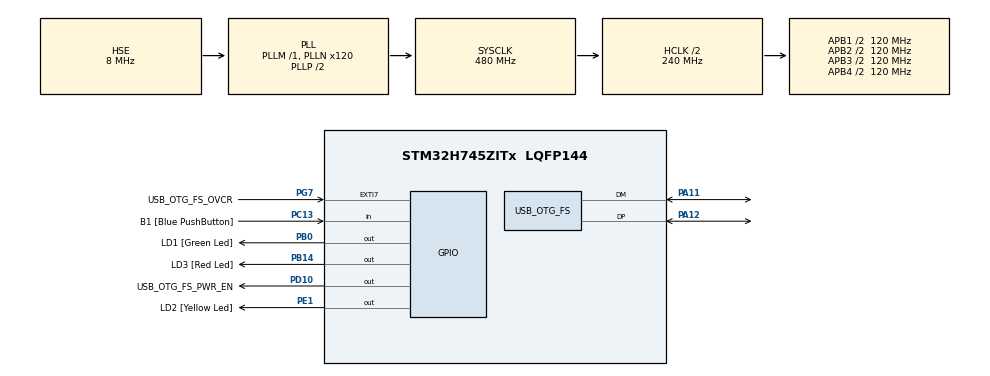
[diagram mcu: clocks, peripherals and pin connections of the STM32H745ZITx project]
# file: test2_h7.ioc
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CortexM4.IPs=FATFS_M4\:I,FREERTOS_M4\:I,IWDG2\:I,RCC,WWDG2\:I,DMA,BDMA,MDMA,NVIC2\:I,USART3,DEBUG,PDM2PCM_M4\:I,PWR,RESMGR_UTILITY,SYS_M4\:I,USB_DEVICE_M4\:I,USB_HOST_M4\:I,CORTEX_M4\:I,OPENAMP_M4\:I,VREFBUF
CortexM4.Pins=PC13,PE1
CortexM7.IPs=FATFS_M7\:I,FREERTOS_M7\:I,IWDG1\:I,RCC\:I,WWDG1\:I,DMA\:I,BDMA\:I,MDMA\:I,NVIC1\:I,SYS\:I,USART3\:I,USB_OTG_FS\:I,CORTEX_M7\:I,DEBUG\:I,PDM2PCM_M7\:I,PWR\:I,RESMGR_UTILITY\:I,USB_DEVICE_M7\:I,USB_HOST_M7\:I,OPENAMP_M7\:I,VREFBUF\:I
CortexM7.Pins=PB0,PB14
Dma.MEMTOMEM.0.Direction=DMA_MEMORY_TO_MEMORY
Dma.MEMTOMEM.0.EventEnable=DISABLE
Dma.MEMTOMEM.0.FIFOMode=DMA_FIFOMODE_ENABLE
Dma.MEMTOMEM.0.FIFOThreshold=DMA_FIFO_THRESHOLD_FULL
Dma.MEMTOMEM.0.Instance=DMA1_Stream0
Dma.MEMTOMEM.0.MemBurst=DMA_MBURST_SINGLE
Dma.MEMTOMEM.0.MemDataAlignment=DMA_MDATAALIGN_BYTE
Dma.MEMTOMEM.0.MemInc=DMA_MINC_ENABLE
Dma.MEMTOMEM.0.Mode=DMA_NORMAL
Dma.MEMTOMEM.0.PeriphBurst=DMA_PBURST_SINGLE
Dma.MEMTOMEM.0.PeriphDataAlignment=DMA_PDATAALIGN_BYTE
Dma.MEMTOMEM.0.PeriphInc=DMA_PINC_ENABLE
Dma.MEMTOMEM.0.Polarity=HAL_DMAMUX_REQ_GEN_RISING
Dma.MEMTOMEM.0.Priority=DMA_PRIORITY_LOW
Dma.MEMTOMEM.0.RequestNumber=1
Dma.MEMTOMEM.0.SignalID=NONE
Dma.MEMTOMEM.0.SyncEnable=DISABLE
Dma.MEMTOMEM.0.SyncPolarity=HAL_DMAMUX_SYNC_NO_EVENT
Dma.MEMTOMEM.0.SyncRequestNumber=1
Dma.MEMTOMEM.0.SyncSignalID=NONE
Dma.Request0=MEMTOMEM
Mcu.Family=STM32H7
Mcu.Name=STM32H745ZITx
Mcu.Package=LQFP144
NVIC1.OTG_FS_IRQn=true\:0\:0\:false\:false\:true\:false\:true\:true
NVIC1.PriorityGroup=NVIC_PRIORITYGROUP_4
NVIC2.PriorityGroup=NVIC_PRIORITYGROUP_4
PA1.Signal=ETH_REF_CLK
PA11.Mode=Device_Only
PA11.PinAttribute=CortexM7
PA11.Signal=USB_OTG_FS_DM
PA12.Mode=Device_Only
PA12.PinAttribute=CortexM7
PA12.Signal=USB_OTG_FS_DP
PA2.Signal=ETH_MDIO
PA7.Signal=ETH_CRS_DV
PA8.PinAttribute=CortexM7
PA8.Signal=USB_OTG_FS_SOF
PA9.PinAttribute=CortexM7
PA9.Signal=USB_OTG_FS_VBUS
PB0.GPIO_Label=LD1 [Green Led]
PB0.PinAttribute=CortexM7
PB0.Signal=GPIO_Output
PB13.Signal=ETH_TXD1
PB14.GPIO_Label=LD3 [Red Led]
PB14.PinAttribute=CortexM7
PB14.Signal=GPIO_Output
PC1.Signal=ETH_MDC
PC13.GPIO_Label=B1 [Blue PushButton]
PC13.GPIO_PuPd=GPIO_PULLUP
PC13.PinAttribute=CortexM4
PC13.Signal=GPIO_Input
PC14-OSC32_IN\ (OSC32_IN).Mode=LSE-External-Oscillator
PC14-OSC32_IN\ (OSC32_IN).PinAttribute=CortexM7
PC14-OSC32_IN\ (OSC32_IN).Signal=RCC_OSC32_IN
PC15-OSC32_OUT\ (OSC32_OUT).Mode=LSE-External-Oscillator
PC15-OSC32_OUT\ (OSC32_OUT).PinAttribute=CortexM7
PC15-OSC32_OUT\ (OSC32_OUT).Signal=RCC_OSC32_OUT
PC4.Signal=ETH_RXD0
PC5.Signal=ETH_RXD1
PD10.GPIO_Label=USB_OTG_FS_PWR_EN
PD10.PinAttribute=Free
PD10.Signal=GPIO_Output
PD8.GPIO_Label=STLINK_RX
PD8.PinAttribute=CortexM7
PD8.Signal=USART3_TX
PD9.GPIO_Label=STLINK_TX
PD9.PinAttribute=CortexM7
PD9.Signal=USART3_RX
PE1.GPIO_Label=LD2 [Yellow Led]
PE1.PinAttribute=CortexM4
PE1.Signal=GPIO_Output
PG11.Signal=ETH_TX_EN
PG13.Signal=ETH_TXD0
PG7.GPIO_Label=USB_OTG_FS_OVCR
PG7.PinAttribute=Free
PG7.Signal=GPXTI7
PH0-OSC_IN\ (PH0).Mode=HSE-External-Clock-Source
PH0-OSC_IN\ (PH0).PinAttribute=CortexM7
PH0-OSC_IN\ (PH0).Signal=RCC_OSC_IN
PH1-OSC_OUT\ (PH1).PinAttribute=CortexM7
PH1-OSC_OUT\ (PH1).Signal=RCC_OSC_OUT
ProjectManager.HeapSize=M4-0x400,M7-0x400
ProjectManager.StackSize=M4-0x400,M7-0x400
ProjectManager.TargetToolchain=MDK-ARM V5.32
RCC.ADCFreq_Value=16125000
RCC.APB1Freq_Value=120000000
RCC.APB2Freq_Value=120000000
RCC.APB3Freq_Value=120000000
RCC.APB4Freq_Value=120000000
RCC.CortexFreq_Value=480000000
RCC.D1PPRE=RCC_APB3_DIV2
RCC.D2PPRE1=RCC_APB1_DIV2
RCC.D2PPRE2=RCC_APB2_DIV2
RCC.D3PPRE=RCC_APB4_DIV2
RCC.DIVM1=1
RCC.DIVM3=1
RCC.DIVN1=120
RCC.DIVN3=24
RCC.DIVQ3=4
RCC.HCLKFreq_Value=240000000
RCC.HPRE=RCC_HCLK_DIV2
RCC.HSE_VALUE=8000000
RCC.PLL2FRACN=0
RCC.PLL3FRACN=0
RCC.PLLFRACN=0
RCC.PLLSourceVirtual=RCC_PLLSOURCE_HSE
RCC.SYSCLKFreq_VALUE=480000000
RCC.SYSCLKSource=RCC_SYSCLKSOURCE_PLLCLK
RCC.SupplySource=PWR_DIRECT_SMPS_SUPPLY
RCC.USBCLockSelection=RCC_USBCLKSOURCE_PLL3
RCC.USBFreq_Value=48000000
USB_DEVICE_M7.CLASS_NAME_FS=CDC
USB_DEVICE_M7.VirtualMode-CDC_FS=Cdc
USB_DEVICE_M7.VirtualModeFS=Cdc_FS
USB_OTG_FS.VirtualMode=Device_Only
VP_SYS_M4_VS_Systick.Mode=SysTick
VP_USB_DEVICE_M7_VS_USB_DEVICE_CDC_FS.Mode=CDC_FS
board=NUCLEO-H745ZI-Q

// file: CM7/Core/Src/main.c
/* USER CODE BEGIN Header */
/**
  ******************************************************************************
  * @file           : main.c
  * @brief          : Main program body
  ******************************************************************************
  * @attention
  *
  * Copyright (c) 2022 STMicroelectronics.
  * All rights reserved.
  *
  * This software is licensed under terms that can be found in the LICENSE file
  * in the root directory of this software component.
  * If no LICENSE file comes with this software, it is provided AS-IS.
  *
  ******************************************************************************
  */
/* USER CODE END Header */
#include "main.h"
#include "usb_device.h"

/* USER CODE BEGIN Includes */
#include "usbd_cdc_if.h"
#include <string.h>
#include <stdio.h>

#include "data.h"
/* USER CODE END Includes */

/* USER CODE BEGIN PD */

#ifndef HSEM_ID_0
#define HSEM_ID_0 (0U) /* HW semaphore 0*/
#endif

#define HSEM_MUTEX	1
#define HSEM_CNTR		2

/* USER CODE END PD */

DMA_HandleTypeDef hdma_memtomem_dma1_stream0;

void SystemClock_Config(void);
static void MX_GPIO_Init(void);
static void MX_DMA_Init(void);

/* USER CODE BEGIN 0 */
extern uint32_t counter;
extern double mydouble;
/* USER CODE END 0 */

int main(void)
{
  /* USER CODE BEGIN 1 */
	char s[100];
	uint32_t d;

	uint32_t ticks, now;
  /* USER CODE END 1 */
/* USER CODE BEGIN Boot_Mode_Sequence_0 */
  int32_t timeout;
/* USER CODE END Boot_Mode_Sequence_0 */

/* USER CODE BEGIN Boot_Mode_Sequence_1 */
  /* Wait until CPU2 boots and enters in stop mode or timeout*/
  timeout = 0xFFFF;
  while((__HAL_RCC_GET_FLAG(RCC_FLAG_D2CKRDY) != RESET) && (timeout-- > 0));
  if ( timeout < 0 )
  {
  Error_Handler();
  }
/* USER CODE END Boot_Mode_Sequence_1 */
  /* MCU Configuration--------------------------------------------------------*/

  /* Reset of all peripherals, Initializes the Flash interface and the Systick. */
  HAL_Init();

  /* Configure the system clock */
  SystemClock_Config();
/* USER CODE BEGIN Boot_Mode_Sequence_2 */
/* When system initialization is finished, Cortex-M7 will release Cortex-M4 by means of
HSEM notification */
/*HW semaphore Clock enable*/
__HAL_RCC_HSEM_CLK_ENABLE();
/*Take HSEM */
HAL_HSEM_FastTake(HSEM_ID_0);
/*Release HSEM in order to notify the CPU2(CM4)*/
HAL_HSEM_Release(HSEM_ID_0,0);
/* wait until CPU2 wakes up from stop mode */
timeout = 0xFFFF;
while((__HAL_RCC_GET_FLAG(RCC_FLAG_D2CKRDY) == RESET) && (timeout-- > 0));
if ( timeout < 0 )
{
Error_Handler();
}
/* USER CODE END Boot_Mode_Sequence_2 */

  /* Initialize all configured peripherals */
  MX_GPIO_Init();
  MX_DMA_Init();
  MX_USB_DEVICE_Init();
  /* USER CODE BEGIN 2 */
	ticks = HAL_GetTick();
  /* USER CODE END 2 */

  /* Infinite loop */
  while (1)
  {

    /* USER CODE BEGIN 3 */
		HAL_HSEM_Release(HSEM_CNTR,0);  // Pulse Sem to signal Core2
		HAL_HSEM_FastTake(HSEM_CNTR);
		HAL_GPIO_TogglePin(LD1_GPIO_Port, LD1_Pin);

		EnterCriticalSection();
		d = counter;
		LeaveCriticalSection();

		sprintf(s, "%d\r\n", counter);
		CDC_Transmit_FS(s, strlen(s));

		while((now = HAL_GetTick())-ticks < 200)  // implementing DelayUntil
			;
		ticks = now;
  }
  /* USER CODE END 3 */
}

void SystemClock_Config(void)
{
  RCC_OscInitTypeDef RCC_OscInitStruct = {0};
  RCC_ClkInitTypeDef RCC_ClkInitStruct = {0};

  /** Supply configuration update enable
  */
  HAL_PWREx_ConfigSupply(PWR_DIRECT_SMPS_SUPPLY);

  /** Configure the main internal regulator output voltage
  */
  __HAL_PWR_VOLTAGESCALING_CONFIG(PWR_REGULATOR_VOLTAGE_SCALE0);

  while(!__HAL_PWR_GET_FLAG(PWR_FLAG_VOSRDY)) {}

  /** Macro to configure the PLL clock source
  */
  __HAL_RCC_PLL_PLLSOURCE_CONFIG(RCC_PLLSOURCE_HSE);

  /** Initializes the RCC Oscillators according to the specified parameters
  * in the RCC_OscInitTypeDef structure.
  */
  RCC_OscInitStruct.OscillatorType = RCC_OSCILLATORTYPE_HSE;
  RCC_OscInitStruct.HSEState = RCC_HSE_BYPASS;
  RCC_OscInitStruct.PLL.PLLState = RCC_PLL_ON;
  RCC_OscInitStruct.PLL.PLLSource = RCC_PLLSOURCE_HSE;
  RCC_OscInitStruct.PLL.PLLM = 1;
  RCC_OscInitStruct.PLL.PLLN = 120;
  RCC_OscInitStruct.PLL.PLLP = 2;
  RCC_OscInitStruct.PLL.PLLQ = 2;
  RCC_OscInitStruct.PLL.PLLR = 2;
  RCC_OscInitStruct.PLL.PLLRGE = RCC_PLL1VCIRANGE_3;
  RCC_OscInitStruct.PLL.PLLVCOSEL = RCC_PLL1VCOWIDE;
  RCC_OscInitStruct.PLL.PLLFRACN = 0;
  if (HAL_RCC_OscConfig(&RCC_OscInitStruct) != HAL_OK)
  {
    Error_Handler();
  }

  /** Initializes the CPU, AHB and APB buses clocks
  */
  RCC_ClkInitStruct.ClockType = RCC_CLOCKTYPE_HCLK|RCC_CLOCKTYPE_SYSCLK
                              |RCC_CLOCKTYPE_PCLK1|RCC_CLOCKTYPE_PCLK2
                              |RCC_CLOCKTYPE_D3PCLK1|RCC_CLOCKTYPE_D1PCLK1;
  RCC_ClkInitStruct.SYSCLKSource = RCC_SYSCLKSOURCE_PLLCLK;
  RCC_ClkInitStruct.SYSCLKDivider = RCC_SYSCLK_DIV1;
  RCC_ClkInitStruct.AHBCLKDivider = RCC_HCLK_DIV2;
  RCC_ClkInitStruct.APB3CLKDivider = RCC_APB3_DIV2;
  RCC_ClkInitStruct.APB1CLKDivider = RCC_APB1_DIV2;
  RCC_ClkInitStruct.APB2CLKDivider = RCC_APB2_DIV2;
  RCC_ClkInitStruct.APB4CLKDivider = RCC_APB4_DIV2;

  if (HAL_RCC_ClockConfig(&RCC_ClkInitStruct, FLASH_LATENCY_4) != HAL_OK)
  {
    Error_Handler();
  }
}

static void MX_DMA_Init(void)
{

  /* DMA controller clock enable */
  __HAL_RCC_DMA1_CLK_ENABLE();

  /* Configure DMA request hdma_memtomem_dma1_stream0 on DMA1_Stream0 */
  hdma_memtomem_dma1_stream0.Instance = DMA1_Stream0;
  hdma_memtomem_dma1_stream0.Init.Request = DMA_REQUEST_MEM2MEM;
  hdma_memtomem_dma1_stream0.Init.Direction = DMA_MEMORY_TO_MEMORY;
  hdma_memtomem_dma1_stream0.Init.PeriphInc = DMA_PINC_ENABLE;
  hdma_memtomem_dma1_stream0.Init.MemInc = DMA_MINC_ENABLE;
  hdma_memtomem_dma1_stream0.Init.PeriphDataAlignment = DMA_PDATAALIGN_BYTE;
  hdma_memtomem_dma1_stream0.Init.MemDataAlignment = DMA_MDATAALIGN_BYTE;
  hdma_memtomem_dma1_stream0.Init.Mode = DMA_NORMAL;
  hdma_memtomem_dma1_stream0.Init.Priority = DMA_PRIORITY_LOW;
  hdma_memtomem_dma1_stream0.Init.FIFOMode = DMA_FIFOMODE_ENABLE;
  hdma_memtomem_dma1_stream0.Init.FIFOThreshold = DMA_FIFO_THRESHOLD_FULL;
  hdma_memtomem_dma1_stream0.Init.MemBurst = DMA_MBURST_SINGLE;
  hdma_memtomem_dma1_stream0.Init.PeriphBurst = DMA_PBURST_SINGLE;
  if (HAL_DMA_Init(&hdma_memtomem_dma1_stream0) != HAL_OK)
  {
    Error_Handler( );
  }

}

static void MX_GPIO_Init(void)
{
  GPIO_InitTypeDef GPIO_InitStruct = {0};

  /* GPIO Ports Clock Enable */
  __HAL_RCC_GPIOC_CLK_ENABLE();
  __HAL_RCC_GPIOH_CLK_ENABLE();
  __HAL_RCC_GPIOB_CLK_ENABLE();
  __HAL_RCC_GPIOD_CLK_ENABLE();
  __HAL_RCC_GPIOA_CLK_ENABLE();

  /*Configure GPIO pin Output Level */
  HAL_GPIO_WritePin(GPIOB, LD1_Pin|LD3_Pin, GPIO_PIN_RESET);

  /*Configure GPIO pins : LD1_Pin LD3_Pin */
  GPIO_InitStruct.Pin = LD1_Pin|LD3_Pin;
  GPIO_InitStruct.Mode = GPIO_MODE_OUTPUT_PP;
  GPIO_InitStruct.Pull = GPIO_NOPULL;
  GPIO_InitStruct.Speed = GPIO_SPEED_FREQ_LOW;
  HAL_GPIO_Init(GPIOB, &GPIO_InitStruct);

  /*Configure GPIO pins : PD8 PD9 */
  GPIO_InitStruct.Pin = GPIO_PIN_8|GPIO_PIN_9;
  GPIO_InitStruct.Mode = GPIO_MODE_AF_PP;
  GPIO_InitStruct.Pull = GPIO_NOPULL;
  GPIO_InitStruct.Speed = GPIO_SPEED_FREQ_LOW;
  GPIO_InitStruct.Alternate = GPIO_AF7_USART3;
  HAL_GPIO_Init(GPIOD, &GPIO_InitStruct);

}

void Error_Handler(void)
{
  __disable_irq();
  while (1)
  {
  }
}
